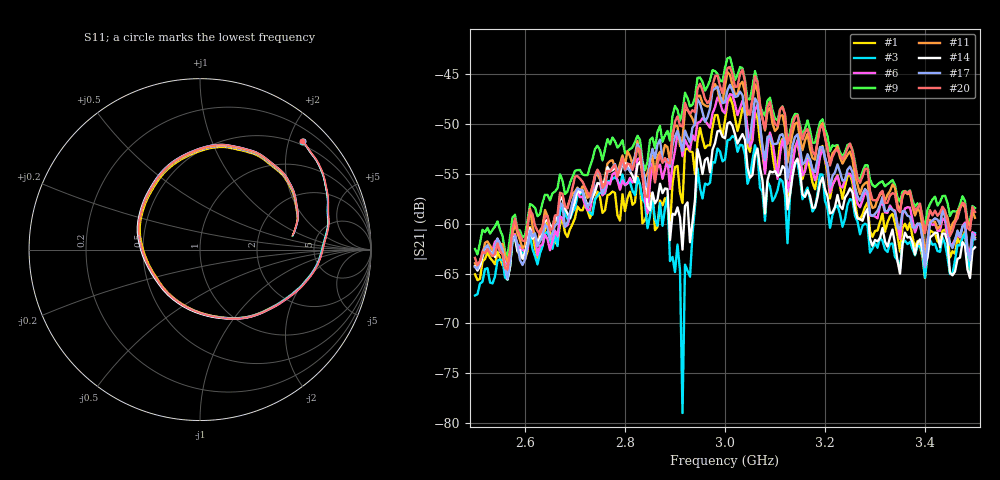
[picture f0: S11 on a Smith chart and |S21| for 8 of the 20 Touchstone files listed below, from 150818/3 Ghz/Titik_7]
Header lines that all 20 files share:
# Hz S RI R 50
! CMT, C1220, 16058040, 17.2.0/1
! Data: Format (Calibration Info)
! Freq  S11: Re/Im (F2)  S21: Re/Im (F2)  S12: Re/Im (F2)  S22: Re/Im (F2)
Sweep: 2.5 GHz to 3.5 GHz
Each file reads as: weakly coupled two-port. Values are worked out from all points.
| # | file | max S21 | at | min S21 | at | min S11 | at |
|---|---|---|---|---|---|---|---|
| 1 | Sudut_50_Titik_7.s2p | -47.32 dB | 3.01 GHz | -65.7 dB | 2.505 GHz | -10.4 dB | 2.98 GHz |
| 2 | Sudut_70_Titik_7.s2p | -49.34 dB | 3.01 GHz | -70.0 dB | 2.89 GHz | -10.5 dB | 2.98 GHz |
| 3 | Sudut_90_Titik_7.s2p | -51.20 dB | 3.015 GHz | -79.0 dB | 2.915 GHz | -10.3 dB | 2.98 GHz |
| 4 | Sudut_100_Titik_7.s2p | -51.63 dB | 3.015 GHz | -72.4 dB | 2.915 GHz | -10.2 dB | 2.98 GHz |
| 5 | Sudut_110_Titik_7.s2p | -51.33 dB | 3.015 GHz | -69.1 dB | 2.5 GHz | -10.1 dB | 2.98 GHz |
| 6 | Sudut_150_Titik_7.s2p | -47.00 dB | 3.01 GHz | -64.6 dB | 2.505 GHz | -10.2 dB | 2.98 GHz |
| 7 | Sudut_160_Titik_7.s2p | -46.53 dB | 3.01 GHz | -64.9 dB | 2.565 GHz | -10.1 dB | 2.98 GHz |
| 8 | Sudut_170_Titik_7.s2p | -44.75 dB | 3.005 GHz | -64.0 dB | 2.5 GHz | -10.1 dB | 2.98 GHz |
| 9 | Sudut_180_Titik_7.s2p | -43.30 dB | 3.01 GHz | -63.3 dB | 2.565 GHz | -10.3 dB | 2.98 GHz |
| 10 | Sudut_190_Titik_7.s2p | -42.48 dB | 3.005 GHz | -62.7 dB | 2.5 GHz | -10.4 dB | 2.98 GHz |
| 11 | Sudut_230_Titik_7.s2p | -44.78 dB | 3.005 GHz | -64.3 dB | 2.505 GHz | -10.4 dB | 2.98 GHz |
| 12 | Sudut_240_Titik_7.s2p | -46.05 dB | 3.005 GHz | -65.5 dB | 2.565 GHz | -10.4 dB | 2.98 GHz |
| 13 | Sudut_250_Titik_7.s2p | -48.18 dB | 3.005 GHz | -66.2 dB | 2.505 GHz | -10.3 dB | 2.98 GHz |
| 14 | Sudut_270_Titik_7.s2p | -49.80 dB | 3.01 GHz | -65.6 dB | 2.565 GHz | -10.1 dB | 2.98 GHz |
| 15 | Sudut_280_Titik_7.s2p | -50.11 dB | 3.015 GHz | -66.8 dB | 3.4 GHz | -10.0 dB | 2.98 GHz |
| 16 | Sudut_310_Titik_7.s2p | -47.65 dB | 3.01 GHz | -65.2 dB | 2.565 GHz | -10.1 dB | 2.98 GHz |
| 17 | Sudut_320_Titik_7.s2p | -46.06 dB | 3.01 GHz | -65.5 dB | 2.565 GHz | -10.2 dB | 2.98 GHz |
| 18 | Sudut_330_Titik_7.s2p | -44.87 dB | 3.01 GHz | -65.0 dB | 2.565 GHz | -10.3 dB | 2.98 GHz |
| 19 | Sudut_340_Titik_7.s2p | -44.50 dB | 3.01 GHz | -65.0 dB | 2.565 GHz | -10.3 dB | 2.98 GHz |
| 20 | Sudut_360_Titik_7.s2p | -44.28 dB | 3.01 GHz | -64.6 dB | 2.565 GHz | -10.2 dB | 2.98 GHz |
